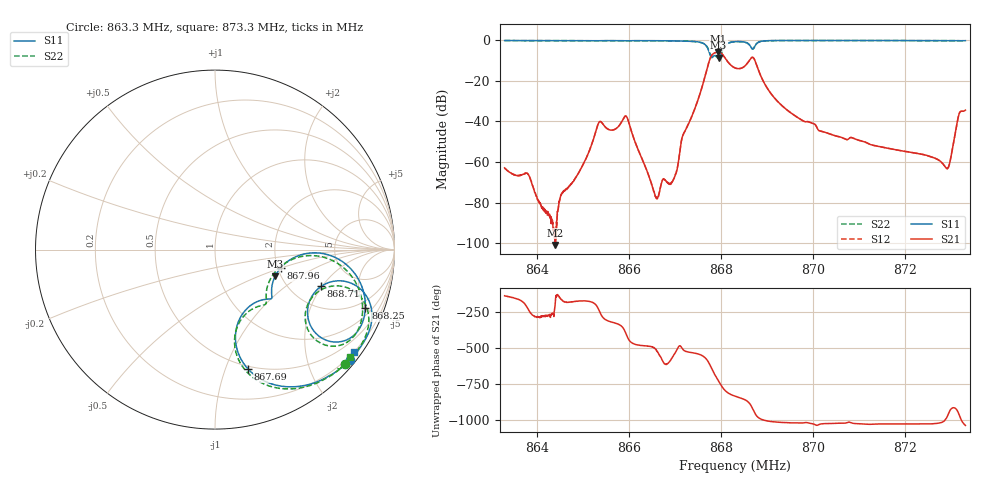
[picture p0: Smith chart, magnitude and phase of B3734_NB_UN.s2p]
! S-parameter for B3734 in Touchstone format with magnitude (lin) and phase
! Normalised impedance: 50 Ohm. Measurement system: 50 Ohm Ta = 25°C
! B3734_WB.s2p not matched. Measurement full 2-port calibrated incl. Port ext.
! Start: 863.3MHz, Stop: 873.3MHz, Span: 10MHz, 1601 Pts., Step: 6.2kHz
! Date:7/11/05 Epcos SAW COM WT AE PD, AB
! Pinning according data sheet recommendation, In P2, Out P4, all others GND
# MHZ S MA R 50
! freq  magS11 angS11  magS21 angS21  magS12 angS12  magS22 angS22
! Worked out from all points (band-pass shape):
!   1601 points, 863.3 MHz to 873.3 MHz, reference 50 ohm
!   highest |S21| = -5.80 dB at 867.94 MHz (marker M1); lowest = -100.9 dB at 864.4 MHz (marker M2)
!   |S21| within 3 dB of the highest: 867.7656 MHz to 868.0831 MHz (317.4 kHz wide, 0.0366 % of centre); 868.6526 MHz to 868.7012 MHz (48.52 kHz wide, 0.00558 % of centre)
!   lowest |S11| = -8.7 dB at 867.94 MHz (marker M3), VSWR 2.16, Z = 93.1 - j32.1 ohm
!   |S11| at or under -10 dB: nowhere
!   |S22| runs from -9.1 to -0.2 dB; largest |S21 - S12| = 0.00088
!   S11 on the Smith chart (normalised r, x): 863.3 MHz: 0.13, -2.80; 867.69 MHz: 0.47, -1.20; 867.96 MHz: 2.07, -0.49; 868.25 MHz: 1.44, -4.91; 868.71 MHz: 2.91, -1.96; 873.3 MHz: 0.18, -3.03
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863.3  0.9713 -39.2  0.0007166 -134.6  0.0007076 -134.9  0.9672 -41.4
864.4  0.9703 -39.9  9.062e-06 176.6  1.2e-05 169.3  0.9661 -42.1
864.9688  0.9689 -40.5  0.0007366 -170.5  0.0007395 -170.3  0.9649 -42.7
865.3562  0.9595 -40.8  0.0097 118.9  0.009705 119.1  0.9549 -43.0
865.9312  0.9532 -41.7  0.01352 -36.6  0.01351 -36.5  0.9504 -43.8
866.6375  0.9617 -44.0  0.0001448 -175.9  0.0001386 -176.0  0.9576 -46.1
866.9937  0.954 -46.6  0.0004403 -177.3  0.000446 -176.4  0.9502 -48.6
867.1687  0.9456 -48.6  0.004538 -147.8  0.004551 -147.8  0.9425 -50.6
867.6875  0.6905 -74.5  0.1857 140.9  0.1859 140.9  0.7011 -75.6
867.8125  0.3779 -48.8  0.4435 65.5  0.4437 65.5  0.394 -54.6
867.9375  0.367 -26.7  0.5127 -5.5  0.5128 -5.5  0.3504 -30.3
867.9437  0.3665 -24.1  0.5124 -8.9  0.5124 -8.9  0.3496 -27.3
867.9625  0.3796 -15.6  0.5075 -19.2  0.5075 -19.1  0.3638 -18.0
868.25  0.8992 -21.3  0.2217 -108.0  0.2216 -107.8  0.8956 -23.5
868.3  0.9116 -24.3  0.2062 -114.0  0.2062 -113.8  0.908 -26.5
868.7062  0.6259 -19.1  0.3571 142.5  0.3568 142.5  0.6272 -21.3
869.1937  0.9724 -28.3  0.0337 65.7  0.03368 65.9  0.9692 -30.6
869.9688  0.9759 -32.7  0.009069 55.0  0.00907 55.2  0.9722 -35.0
871.6375  0.9757 -35.2  0.002157 52.4  0.002164 52.6  0.9719 -37.4
872.9  0.9736 -36.3  0.0006878 100.5  0.0006941 100.0  0.9698 -38.5
873.1562  0.9579 -36.5  0.01431 122.8  0.01431 123.0  0.9552 -38.8
873.3  0.9656 -36.4  0.01892 42.1  0.01892 42.2  0.962 -38.7
